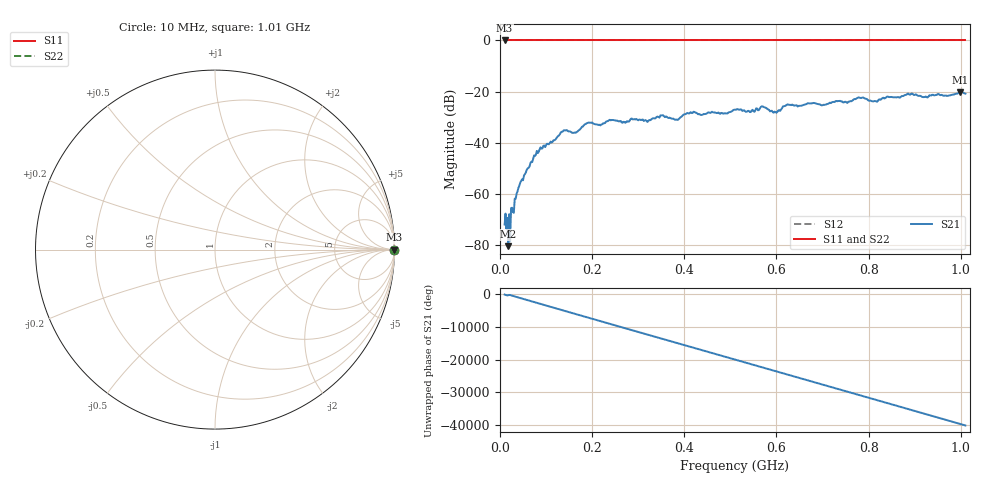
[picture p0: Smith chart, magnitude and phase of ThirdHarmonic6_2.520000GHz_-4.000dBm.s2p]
! 8/17/2025 4:57:15 AM
! C:\ANRITSUVNA\TEMP\TEMP.S2P
! CHANNEL.1
! TR.MEASUREMENT
! RAW.DATA
! RF.CORRECTION.OFF
! AVERAGING.OFF
! IF.BANDWIDTH: 5KHZ
! SWEEPTYPE:  FREQ.SWEEP(Linear)
! Reference Plane Port Info
! PORT:  PORT1  PORT2
! DISTANCE:  0  m  0  m
! TIME:  0  s  0  s
! PHASE.OFFSET:  0  deg.  0  deg.
! LOSS:  0  dB  0  dB
! REF.LOSS:  0  dB  0  dB
! REF.FREQ:  0  Hz  0  Hz
! Power Info
! POWER:  -20  dBm  -20  dBm
! EFF.POWER:  -20  dBm  -20  dBm
! SOURCE.ATTEN:  0  dB  0  dB
! TEST.ATTEN:  0  dB  0  dB
# GHZ S RI R 50.0
! FREQ.GHZ  S11RE  S11IM  S21RE  S21IM  S12RE  S12IM  S22RE  S22IM
!; PortSelection: Port_12
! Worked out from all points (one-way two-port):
!   501 points, 10 MHz to 1.01 GHz, reference 50 ohm
!   highest |S21| = -20.21 dB at 998 MHz (marker M1); lowest = -80.4 dB at 18 MHz (marker M2)
!   lowest |S11| = 0.0 dB at 10 MHz (marker M3)
!   |S11| at or under -10 dB: nowhere
!   |S22| runs from 0.0 to 0.0 dB; largest |S21 - S12| = 1.1
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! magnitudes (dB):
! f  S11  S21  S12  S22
! 10 MHz  0.0  -72.0  0.0  0.0
! 16 MHz  0.0  -69.3  0.0  0.0
! 18 MHz  0.0  -80.4  0.0  0.0
! 40 MHz  0.0  -57.6  0.0  0.0
! 76 MHz  0.0  -45.1  0.0  0.0
! 136 MHz  0.0  -35.6  0.0  0.0
! 162 MHz  0.0  -36.0  0.0  0.0
! 178 MHz  0.0  -33.7  0.0  0.0
! 192 MHz  0.0  -32.1  0.0  0.0
! 344 MHz  0.0  -29.9  0.0  0.0
! 384 MHz  0.0  -30.9  0.0  0.0
! 410 MHz  0.0  -28.6  0.0  0.0
! 510 MHz  0.0  -27.1  0.0  0.0
! 570 MHz  0.0  -25.8  0.0  0.0
! 598 MHz  0.0  -28.0  0.0  0.0
! 624 MHz  0.0  -25.0  0.0  0.0
! 678 MHz  0.0  -24.5  0.0  0.0
! 782 MHz  0.0  -22.5  0.0  0.0
! 814 MHz  0.0  -23.7  0.0  0.0
! 844 MHz  0.0  -22.1  0.0  0.0
! 998 MHz  0.0  -20.2  0.0  0.0
! 1.01 GHz  0.0  -20.8  0.0  0.0
